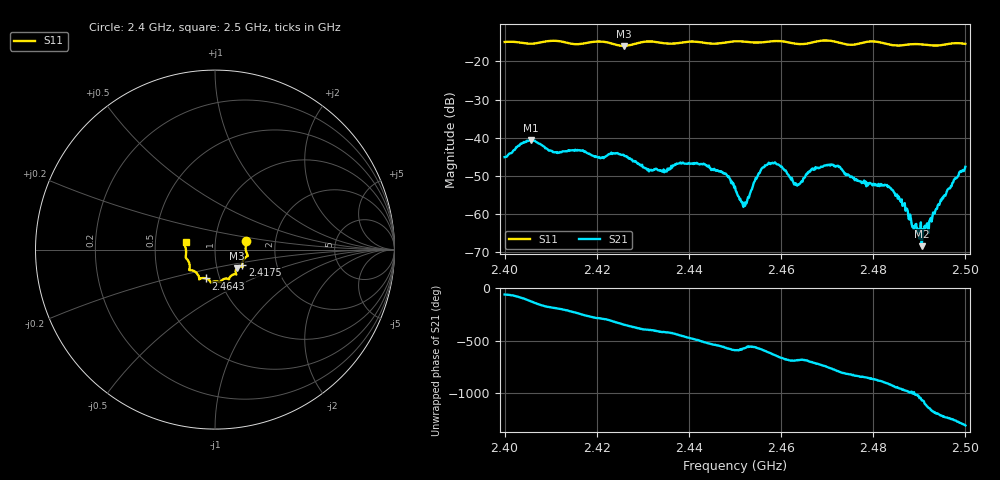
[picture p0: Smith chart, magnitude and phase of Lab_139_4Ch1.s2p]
# Hz S RI R 50
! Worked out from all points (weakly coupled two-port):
!   601 points, 2.4 GHz to 2.5 GHz, reference 50 ohm
!   highest |S21| = -40.61 dB at 2.4057 GHz (marker M1); lowest = -68.4 dB at 2.4905 GHz (marker M2)
!   lowest |S11| = -15.9 dB at 2.4258 GHz (marker M3), VSWR 1.38, Z = 62.3 - j13.2 ohm
!   |S11| at or under -10 dB: start of sweep to end of sweep
!   S12 and S22 are empty: the file has one direction only
!   S11 on the Smith chart (normalised r, x): 2.4 GHz: 1.41, +0.14; 2.4175 GHz: 1.34, -0.23; 2.4643 GHz: 0.86, -0.29; 2.5 GHz: 0.72, +0.06
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2.4e9  0.1729 0.0491  0.00279 -0.00485  0 0  0 0
2.405667e9  0.1704 0.00572  -0.00522 -0.00773  0 0  0 0
2.411e9  0.1827 -0.0352  -0.00638 0.00117  0 0  0 0
2.416667e9  0.1528 -0.074  -0.00237 0.00639  0 0  0 0
2.4175e9  0.1519 -0.0834  -0.00111 0.00654  0 0  0 0
2.425833e9  0.1218 -0.1033  0.00582 0.00136  0 0  0 0
2.433333e9  0.1131 -0.1372  0.00236 -0.00293  0 0  0 0
2.443333e9  0.0679 -0.1617  -0.00413 -0.00186  0 0  0 0
2.448167e9  0.0345 -0.1742  -0.00282 0.00171  0 0  0 0
2.45e9  0.029 -0.1811  -0.00142 0.00183  0 0  0 0
2.452167e9  0.0218 -0.1798  -0.0011 0.000665  0 0  0 0
2.455667e9  -0.00386 -0.1773  -0.00283 0.00262  0 0  0 0
2.458333e9  -0.0201 -0.1833  0.000262 0.00463  0 0  0 0
2.463167e9  -0.0378 -0.1662  0.00223 0.00124  0 0  0 0
2.464333e9  -0.0497 -0.161  0.00214 0.00155  0 0  0 0
2.466667e9  -0.0758 -0.1596  0.00373 0.00105  0 0  0 0
2.470833e9  -0.0879 -0.1639  0.00307 -0.00326  0 0  0 0
2.477e9  -0.1263 -0.116  -0.00144 -0.00229  0 0  0 0
2.483333e9  -0.1409 -0.0901  -0.00226 0.000559  0 0  0 0
2.4905e9  -0.1628 -0.0375  0.000377 6.2e-05  0 0  0 0
2.497667e9  -0.1704 0.0309  -0.00289 0.00011  0 0  0 0
2.5e9  -0.1641 0.0431  -0.00262 0.00327  0 0  0 0
